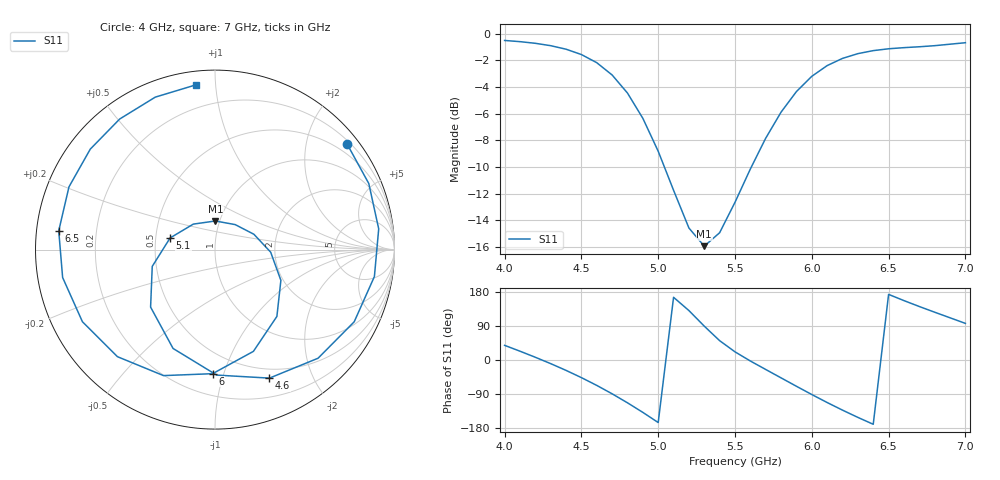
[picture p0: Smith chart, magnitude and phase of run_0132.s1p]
! Touchstone file exported from HFSS 2024.2.0
!  File:  C:/Users/wsak9/Desktop/Sim Fast/Widenad Patch/WP_AI_V1_sweep.aedt
!  Generated:  08:24:44 PM Oct 13, 2026
!  Design:  A1_model
!  Project:  WP_AI_V1_sweep
!  Setup:  Setup1
!  Solution:  Sweep
! Variables:
!  Air_gap = 3.1mm
!  Curve_Amp1 = 0.65
!  Curve_len1 = 1
!  Curve_pos = 11.24mm
!  Extra = 1.68mm
!  H_sub = 0.79mm
!  L_Patch = 18.48mm
!  L_Patch1 = 17.08mm
!  Sx = 2.18mm
!  Sy = 4.4mm
!  WS = 1.44mm
!  W_Patch = 14.72mm
!  W_Patch1 = 15.4mm
!Data is not renormalized
# GHz S MA
! Terminal data exported
! Port[1] = 1
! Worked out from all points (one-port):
!   31 points, 4 GHz to 7 GHz, reference per port
!   lowest |S11| = -15.9 dB at 5.3 GHz (marker M1), VSWR 1.38
!   |S11| at or under -10 dB: 5.04 GHz to 5.607 GHz (566.7 MHz wide, 10.6 % of centre)
!   S11 on the Smith chart (normalised r, x): 4 GHz: 0.27, +2.83; 4.6 GHz: 0.40, -1.43; 5.1 GHz: 0.60, +0.08; 6 GHz: 0.35, -0.92; 6.5 GHz: 0.07, +0.06; 7 GHz: 0.07, +0.89
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4  0.9422 38.7
4.1  0.9326 23.2
4.2  0.9194 7.2
4.3  0.9007 -9.6
4.4  0.8737 -27.4
4.5  0.8343 -46.5
4.6  0.7776 -67.0
4.7  0.6993 -89.2
4.8  0.5983 -113.0
4.9  0.481 -138.2
5  0.3619 -165.0
5.1  0.2584 165.5
5.2  0.1865 130.4
5.3  0.1595 89.3
5.4  0.1791 51.0
5.5  0.2329 21.5
5.7  0.4051 -25.0
5.8  0.5074 -47.2
5.9  0.606 -69.3
6  0.6914 -91.1
6.1  0.7583 -112.2
6.2  0.8071 -132.3
6.3  0.8409 -151.5
6.4  0.8631 -169.6
6.5  0.8769 173.1
6.7  0.8923 141.1
6.9  0.9123 111.4
7  0.924 96.6
